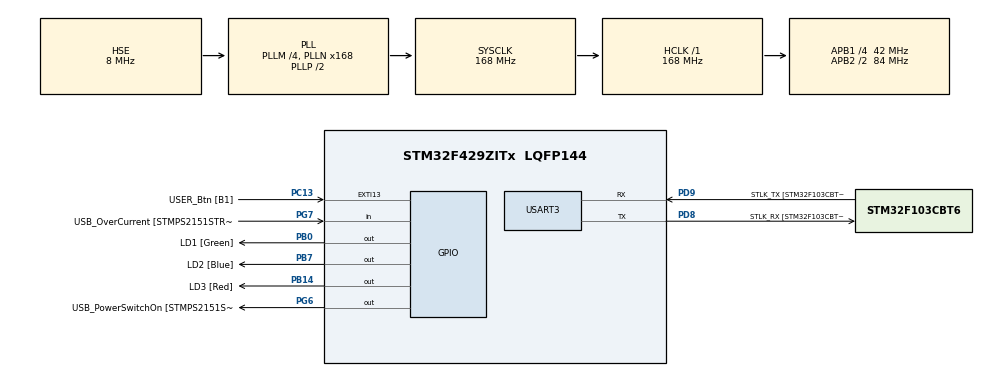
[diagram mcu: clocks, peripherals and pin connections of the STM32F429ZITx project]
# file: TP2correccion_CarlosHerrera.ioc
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Mcu.Family=STM32F4
Mcu.Name=STM32F429ZITx
Mcu.Package=LQFP144
NVIC.PriorityGroup=NVIC_PRIORITYGROUP_4
NVIC.TIM1_UP_TIM10_IRQn=true\:15\:0\:false\:false\:true\:false\:true\:true
NVIC.TimeBase=TIM1_UP_TIM10_IRQn
NVIC.TimeBaseIP=TIM1
PA1.GPIO_Label=RMII_REF_CLK [LAN8742A-CZ-TR_REFCLK0]
PA1.Signal=ETH_REF_CLK
PA10.GPIO_Label=USB_ID
PA10.Signal=USB_OTG_FS_ID
PA11.GPIO_Label=USB_DM
PA11.Signal=USB_OTG_FS_DM
PA12.GPIO_Label=USB_DP
PA12.Signal=USB_OTG_FS_DP
PA13.GPIO_Label=TMS
PA13.Mode=Serial_Wire
PA13.Signal=SYS_JTMS-SWDIO
PA14.GPIO_Label=TCK
PA14.Mode=Serial_Wire
PA14.Signal=SYS_JTCK-SWCLK
PA2.GPIO_Label=RMII_MDIO [LAN8742A-CZ-TR_MDIO]
PA2.Signal=ETH_MDIO
PA7.GPIO_Label=RMII_CRS_DV [LAN8742A-CZ-TR_CRS_DV]
PA7.Signal=ETH_CRS_DV
PA8.GPIO_Label=USB_SOF [TP1]
PA8.Signal=USB_OTG_FS_SOF
PA9.GPIO_Label=USB_VBUS
PA9.Signal=USB_OTG_FS_VBUS
PB0.GPIO_Label=LD1 [Green]
PB0.Signal=GPIO_Output
PB13.GPIO_Label=RMII_TXD1 [LAN8742A-CZ-TR_TXD1]
PB13.Signal=ETH_TXD1
PB14.GPIO_Label=LD3 [Red]
PB14.Signal=GPIO_Output
PB7.GPIO_Label=LD2 [Blue]
PB7.Signal=GPIO_Output
PC1.GPIO_Label=RMII_MDC [LAN8742A-CZ-TR_MDC]
PC1.Signal=ETH_MDC
PC13.GPIO_Label=USER_Btn [B1]
PC13.Signal=GPXTI13
PC14/OSC32_IN.Mode=LSE-External-Oscillator
PC14/OSC32_IN.Signal=RCC_OSC32_IN
PC15/OSC32_OUT.Mode=LSE-External-Oscillator
PC15/OSC32_OUT.Signal=RCC_OSC32_OUT
PC4.GPIO_Label=RMII_RXD0 [LAN8742A-CZ-TR_RXD0]
PC4.Signal=ETH_RXD0
PC5.GPIO_Label=RMII_RXD1 [LAN8742A-CZ-TR_RXD1]
PC5.Signal=ETH_RXD1
PD8.GPIO_Label=STLK_RX [STM32F103CBT6_PA3]
PD8.Mode=Asynchronous
PD8.Signal=USART3_TX
PD9.GPIO_Label=STLK_TX [STM32F103CBT6_PA2]
PD9.Mode=Asynchronous
PD9.Signal=USART3_RX
PG11.GPIO_Label=RMII_TX_EN [LAN8742A-CZ-TR_TXEN]
PG11.Signal=ETH_TX_EN
PG13.GPIO_Label=RMII_TXD0 [LAN8742A-CZ-TR_TXD0]
PG13.Signal=ETH_TXD0
PG6.GPIO_Label=USB_PowerSwitchOn [STMPS2151STR_EN]
PG6.Signal=GPIO_Output
PG7.GPIO_Label=USB_OverCurrent [STMPS2151STR_FAULT]
PG7.Signal=GPIO_Input
PH0/OSC_IN.GPIO_Label=MCO [STM32F103CBT6_PA8]
PH0/OSC_IN.Mode=HSE-External-Clock-Source
PH0/OSC_IN.Signal=RCC_OSC_IN
PH1/OSC_OUT.Mode=HSE-External-Clock-Source
PH1/OSC_OUT.Signal=RCC_OSC_OUT
ProjectManager.HeapSize=0x200
ProjectManager.StackSize=0x400
ProjectManager.TargetToolchain=STM32CubeIDE
RCC.48MHZClocksFreq_Value=48000000
RCC.AHBFreq_Value=168000000
RCC.APB1CLKDivider=RCC_HCLK_DIV4
RCC.APB1Freq_Value=42000000
RCC.APB1TimFreq_Value=84000000
RCC.APB2CLKDivider=RCC_HCLK_DIV2
RCC.APB2Freq_Value=84000000
RCC.APB2TimCLKDivider=2
RCC.APB2TimFreq_Value=168000000
RCC.CortexFreq_Value=168000000
RCC.HCLKFreq_Value=168000000
RCC.HSE_VALUE=8000000
RCC.HSI_VALUE=16000000
RCC.PLLM=4
RCC.PLLMUL=RCC_PLL_MUL9
RCC.PLLN=168
RCC.PLLQ=7
RCC.PLLSourceVirtual=RCC_PLLSOURCE_HSE
RCC.PRESCALERUSB=RCC_USBCLKSOURCE_PLL_DIV1_5
RCC.SYSCLKFreq_VALUE=168000000
RCC.SYSCLKSource=RCC_SYSCLKSOURCE_PLLCLK
RCC.SYSCLKSourceVirtual=RCC_SYSCLKSOURCE_PLLCLK
RCC.USBFreq_Value=48000000
RCC.VCOOutputFreq_Value=336000000
USART3.VirtualMode=VM_ASYNC
VP_SYS_VS_tim1.Mode=TIM1
board=NUCLEO-F429ZI

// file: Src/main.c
/* USER CODE BEGIN Header */
/**
  ******************************************************************************
  * @file           : main.c
  * @brief          : Main program body
  ******************************************************************************
  * @attention
  *
  * Copyright (c) 2023 STMicroelectronics.
  * All rights reserved.
  *
  * This software is licensed under terms that can be found in the LICENSE file
  * in the root directory of this software component.
  * If no LICENSE file comes with this software, it is provided AS-IS.
  *
  ******************************************************************************
  */
/* USER CODE END Header */
#include "main.h"
#include "usart.h"
#include "gpio.h"

/* USER CODE BEGIN Includes */
#include "osKernel.h"

/* USER CODE END Includes */

/* USER CODE BEGIN PV */
osTaskObject osTask1;
osTaskObject osTask2;
osTaskObject osTask3;
osTaskObject osTask4;
osTaskObject osTask5;

uint32_t vt1 = 0;
uint32_t vt2 = 0;
uint32_t vt3 = 0;
uint32_t vt4 = 0;
uint32_t vt5 = 0;
uint32_t vtick = 0;
uint32_t vidle = 0;

/* USER CODE END PV */

void SystemClock_Config(void);
/* USER CODE BEGIN PFP */
static void task1(void);
static void task2(void);
static void task3(void);
static void task4(void);
static void task5(void);

/* USER CODE END PFP */

int main(void)
{

  /* MCU Configuration--------------------------------------------------------*/

  /* Reset of all peripherals, Initializes the Flash interface and the Systick. */
  HAL_Init();

  /* Configure the system clock */
  SystemClock_Config();

  /* Initialize all configured peripherals */
  MX_GPIO_Init();
  MX_USART3_UART_Init();
  /* USER CODE BEGIN 2 */
  HAL_GPIO_WritePin(LD1_GPIO_Port, LD1_Pin, GPIO_PIN_RESET);
  HAL_GPIO_WritePin(LD2_GPIO_Port, LD2_Pin, GPIO_PIN_RESET);
  HAL_GPIO_WritePin(LD3_GPIO_Port, LD3_Pin, GPIO_PIN_RESET);

  osTaskCreate(&osTask1, OS_VERYHIGH_PRIORITY, task1);
  osTaskCreate(&osTask2, OS_VERYHIGH_PRIORITY, task2);
  osTaskCreate(&osTask3, OS_HIGH_PRIORITY, task3);
  osTaskCreate(&osTask4, OS_LOW_PRIORITY, task4);
  osTaskCreate(&osTask5, OS_LOW_PRIORITY, task5);

  osStart();
  /* USER CODE END 2 */

  /* Infinite loop */
  while (1)
  {

    /* USER CODE BEGIN 3 */
      __WFI();
  }
  /* USER CODE END 3 */
}

void SystemClock_Config(void)
{
  RCC_OscInitTypeDef RCC_OscInitStruct = {0};
  RCC_ClkInitTypeDef RCC_ClkInitStruct = {0};

  /** Configure the main internal regulator output voltage
  */
  __HAL_RCC_PWR_CLK_ENABLE();
  __HAL_PWR_VOLTAGESCALING_CONFIG(PWR_REGULATOR_VOLTAGE_SCALE1);

  /** Initializes the RCC Oscillators according to the specified parameters
  * in the RCC_OscInitTypeDef structure.
  */
  RCC_OscInitStruct.OscillatorType = RCC_OSCILLATORTYPE_HSE;
  RCC_OscInitStruct.HSEState = RCC_HSE_BYPASS;
  RCC_OscInitStruct.PLL.PLLState = RCC_PLL_ON;
  RCC_OscInitStruct.PLL.PLLSource = RCC_PLLSOURCE_HSE;
  RCC_OscInitStruct.PLL.PLLM = 4;
  RCC_OscInitStruct.PLL.PLLN = 168;
  RCC_OscInitStruct.PLL.PLLP = RCC_PLLP_DIV2;
  RCC_OscInitStruct.PLL.PLLQ = 7;
  if (HAL_RCC_OscConfig(&RCC_OscInitStruct) != HAL_OK)
  {
    Error_Handler();
  }

  /** Initializes the CPU, AHB and APB buses clocks
  */
  RCC_ClkInitStruct.ClockType = RCC_CLOCKTYPE_HCLK|RCC_CLOCKTYPE_SYSCLK
                              |RCC_CLOCKTYPE_PCLK1|RCC_CLOCKTYPE_PCLK2;
  RCC_ClkInitStruct.SYSCLKSource = RCC_SYSCLKSOURCE_PLLCLK;
  RCC_ClkInitStruct.AHBCLKDivider = RCC_SYSCLK_DIV1;
  RCC_ClkInitStruct.APB1CLKDivider = RCC_HCLK_DIV4;
  RCC_ClkInitStruct.APB2CLKDivider = RCC_HCLK_DIV2;

  if (HAL_RCC_ClockConfig(&RCC_ClkInitStruct, FLASH_LATENCY_5) != HAL_OK)
  {
    Error_Handler();
  }
}

/* USER CODE BEGIN 4 */

static void task1(void)
{
//    uint32_t i = 0;

    while(1)
    {
        vt1++;
        osDelay(200);
        HAL_GPIO_TogglePin(LD2_GPIO_Port, LD2_Pin);
    }
}

static void task2(void)
{
//    uint32_t j = 0;

    while(1)
    {
    	vt2++;
        osDelay(500);
        HAL_GPIO_TogglePin(LD3_GPIO_Port, LD3_Pin);
    }
}

static void task3(void)
{
//    uint32_t k = 0;

    while(1)
    {
    	vt3++;
//        osDelay(100);
//        HAL_GPIO_TogglePin(LD1_GPIO_Port, LD1_Pin);
    }
}

static void task4(void)
{
//    uint32_t m = 0;

    while(1)
    {
    	vt4++;
//        osDelay(30000);
    }
}

static void task5(void)
{
//    uint32_t n = 0;

    while(1)
    {
    	vt5++;
//        osDelay(30000);
    }
}

void osSysTickHook(void)
{
	vtick++;
}

void osIdleTask(void)
{
    while(1)
    {
    	vidle++;
    }
}
/* USER CODE END 4 */

void HAL_TIM_PeriodElapsedCallback(TIM_HandleTypeDef *htim)
{
  if (htim->Instance == TIM1) {
    HAL_IncTick();
  }
}

void Error_Handler(void)
{
  __disable_irq();
  while (1)
  {
  }
}
